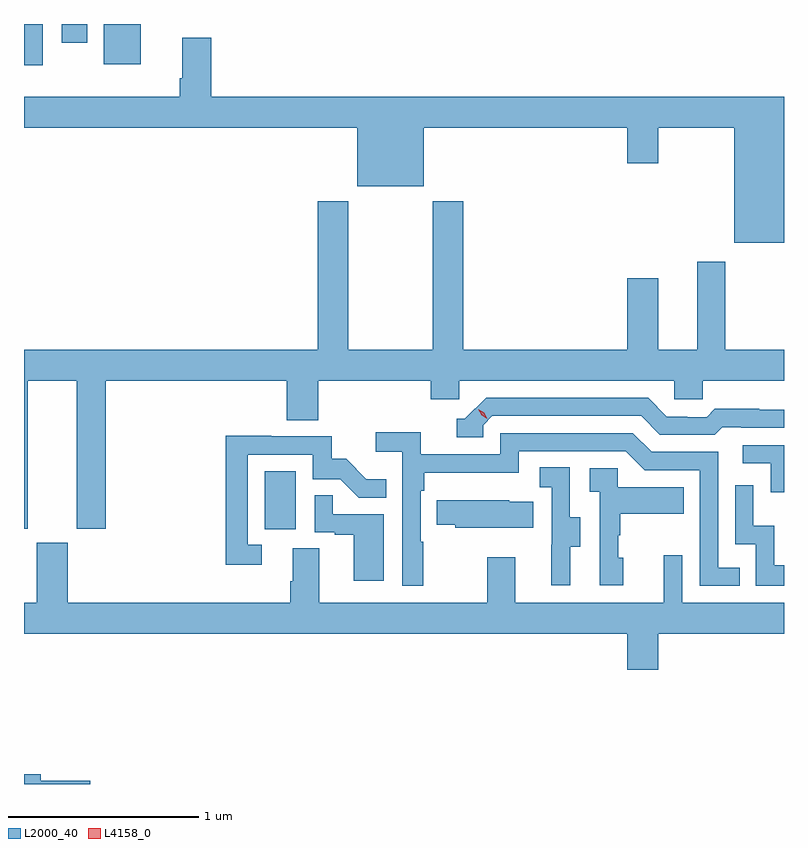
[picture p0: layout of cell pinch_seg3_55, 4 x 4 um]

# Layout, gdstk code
import gdstk
lib = gdstk.Library(unit=1e-6, precision=1e-09)
def R(c, l, rs):  # rectangles x0, y0, x1, y1
    for r in rs: c.add(gdstk.rectangle(r[:2], r[2:], *l))
def P(c, l, *ps):  # polygons
    for p in ps: c.add(gdstk.Polygon(p, *l))
L2000_40 = (2000, 40)
L4158_0 = (4158, 0)

pinch_seg3_55 = lib.new_cell('pinch_seg3_55')
R(pinch_seg3_55, L2000_40, [(1074.188,732.102,1074.352,732.409), (1072.921,734.544,1073.02,734.762), (1073.342,734.549,1073.536,734.762), (1073.12,734.664,1073.254,734.762)])
P(pinch_seg3_55, L2000_40, [(1076.921,734.38),(1073.906,734.38),(1073.906,734.689),(1073.753,734.689),(1073.753,734.476),(1073.741,734.476),(1073.741,734.38),(1072.921,734.38),(1072.921,734.216),(1074.674,734.216),(1074.674,733.907),(1075.024,733.907),(1075.024,734.216),(1076.096,734.216),(1076.096,734.028),(1076.26,734.028),(1076.26,734.216),(1076.66,734.216),(1076.66,733.61),(1076.921,733.61)],
  [(1072.942,732.884),(1073.198,732.884),(1073.198,732.105),(1073.351,732.105),(1073.351,732.884),(1074.305,732.884),(1074.305,732.676),(1074.47,732.676),(1074.47,732.884),(1075.061,732.884),(1075.061,732.786),(1075.212,732.786),(1075.212,732.884),(1076.343,732.884),(1076.343,732.786),(1076.493,732.786),(1076.493,732.884),(1076.921,732.884),(1076.921,733.048),(1076.613,733.048),(1076.613,733.51),(1076.465,733.51),(1076.465,733.048),(1076.26,733.048),(1076.26,733.423),(1076.096,733.423),(1076.096,733.048),(1075.232,733.048),(1075.232,733.828),(1075.072,733.828),(1075.072,733.048),(1074.627,733.048),(1074.627,733.828),(1074.467,733.828),(1074.467,733.048),(1072.921,733.048),(1072.921,732.105),(1072.942,732.105)],
  [(1075.338,732.651),(1075.386,732.699),(1076.169,732.699),(1076.268,732.6),(1076.557,732.6),(1076.596,732.639),(1076.695,732.639),(1076.695,732.636),(1076.921,732.636),(1076.921,732.733),(1076.79,732.733),(1076.79,732.736),(1076.557,732.736),(1076.515,732.693),(1076.412,732.693),(1076.412,732.696),(1076.305,732.696),(1076.206,732.795),(1075.353,732.795),(1075.242,732.684),(1075.199,732.684),(1075.199,732.588),(1075.338,732.588)],
  [(1075.021,732.038),(1075.008,732.038),(1075.008,732.305),(1075.028,732.305),(1075.028,732.401),(1075.524,732.401),(1075.524,732.513),(1076.088,732.513),(1076.187,732.414),(1076.478,732.414),(1076.478,731.805),(1076.687,731.805),(1076.687,731.901),(1076.574,731.901),(1076.574,732.51),(1076.224,732.51),(1076.125,732.609),(1075.428,732.609),(1075.428,732.498),(1075.01,732.498),(1075.01,732.614),(1074.771,732.614),(1074.771,732.512),(1074.912,732.512),(1074.912,731.805),(1075.021,731.805)],
  [(1074.172,732.021),(1074.099,732.021),(1074.099,732.495),(1074.441,732.495),(1074.441,732.366),(1074.585,732.366),(1074.683,732.268),(1074.827,732.268),(1074.827,732.367),(1074.723,732.367),(1074.616,732.474),(1074.54,732.474),(1074.54,732.591),(1074.221,732.591),(1074.221,732.596),(1073.983,732.596),(1073.983,731.916),(1074.172,731.916)],
  [(1076.921,732.546),(1076.703,732.546),(1076.703,732.45),(1076.85,732.45),(1076.85,732.297),(1076.921,732.297)],
  [(1075.795,732.01),(1075.849,732.01),(1075.849,732.165),(1075.794,732.165),(1075.794,732.428),(1075.635,732.428),(1075.635,732.325),(1075.698,732.325),(1075.698,732.021),(1075.697,732.021),(1075.697,731.808),(1075.795,731.808)],
  [(1076.074,731.952),(1076.049,731.952),(1076.049,732.071),(1076.059,732.071),(1076.059,732.185),(1076.393,732.185),(1076.393,732.325),(1076.046,732.325),(1076.046,732.423),(1075.899,732.423),(1075.899,732.299),(1075.95,732.299),(1075.95,731.808),(1076.074,731.808)],
  [(1076.921,731.914),(1076.87,731.914),(1076.87,732.122),(1076.76,732.122),(1076.76,732.334),(1076.664,732.334),(1076.664,732.024),(1076.772,732.024),(1076.772,731.805),(1076.921,731.805)],
  [(1074.814,732.183),(1074.545,732.183),(1074.545,732.281),(1074.45,732.281),(1074.45,732.087),(1074.557,732.087),(1074.557,732.075),(1074.656,732.075),(1074.656,731.832),(1074.814,731.832)],
  [(1075.601,732.247),(1075.476,732.247),(1075.476,732.256),(1075.093,732.256),(1075.093,732.127),(1075.191,732.127),(1075.191,732.11),(1075.601,732.11)],
  [(1076.26,731.552),(1076.921,731.552),(1076.921,731.716),(1076.385,731.716),(1076.385,731.965),(1076.288,731.965),(1076.288,731.716),(1075.507,731.716),(1075.507,731.956),(1075.36,731.956),(1075.36,731.716),(1074.475,731.716),(1074.475,732.002),(1074.335,732.002),(1074.335,731.828),(1074.323,731.828),(1074.323,731.716),(1073.152,731.716),(1073.152,732.033),(1072.988,732.033),(1072.988,731.716),(1072.921,731.716),(1072.921,731.552),(1076.096,731.552),(1076.096,731.364),(1076.26,731.364)],
  [(1073.269,730.778),(1073.008,730.778),(1073.008,730.814),(1072.921,730.814),(1072.921,730.762),(1073.269,730.762)])
P(pinch_seg3_55, L4158_0, [(1075.36,732.684),(1075.329,732.703),(1075.313,732.735),(1075.313,732.735),(1075.313,732.735),(1075.344,732.716),(1075.36,732.684),(1075.36,732.684)])

lib.write_gds('pinch_seg3_55.gds')
